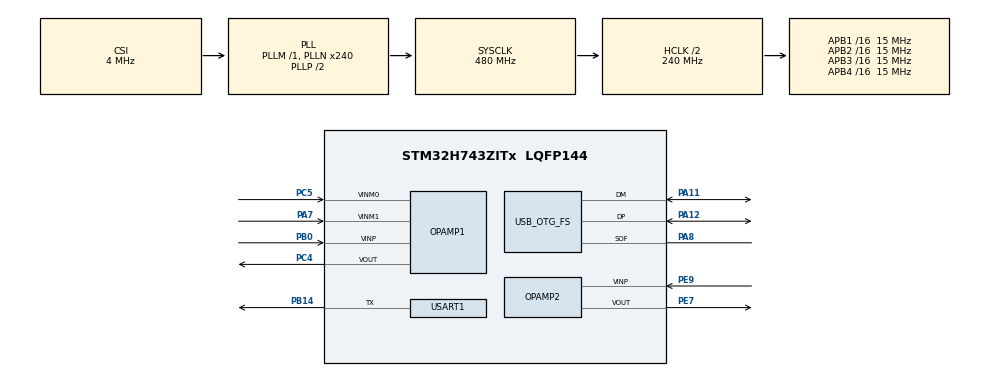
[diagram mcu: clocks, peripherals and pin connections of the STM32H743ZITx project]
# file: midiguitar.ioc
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ADC1.Channel-0\#ChannelRegularConversion=ADC_CHANNEL_4
ADC1.ContinuousConvMode=ENABLE
ADC1.ConversionDataManagement=ADC_CONVERSIONDATA_DMA_CIRCULAR
ADC1.LeftBitShift=ADC_LEFTBITSHIFT_NONE
ADC1.NbrOfConversionFlag=1
ADC1.OffsetNumber-0\#ChannelRegularConversion=ADC_OFFSET_NONE
ADC1.OffsetSignedSaturation-0\#ChannelRegularConversion=DISABLE
ADC1.OversamplingMode=ENABLE
ADC1.Rank-0\#ChannelRegularConversion=1
ADC1.Ratio=ADC3_OVERSAMPLING_RATIO_32
ADC1.RightBitShift=ADC_RIGHTBITSHIFT_5
ADC1.SamplingTime-0\#ChannelRegularConversion=ADC_SAMPLETIME_2CYCLES_5
ADC1.master=1
CORTEX_M7.default_mode_Activation=1
Dma.ADC1.0.Direction=DMA_PERIPH_TO_MEMORY
Dma.ADC1.0.EventEnable=DISABLE
Dma.ADC1.0.FIFOMode=DMA_FIFOMODE_DISABLE
Dma.ADC1.0.Instance=DMA1_Stream0
Dma.ADC1.0.MemDataAlignment=DMA_MDATAALIGN_HALFWORD
Dma.ADC1.0.MemInc=DMA_MINC_ENABLE
Dma.ADC1.0.Mode=DMA_CIRCULAR
Dma.ADC1.0.PeriphDataAlignment=DMA_PDATAALIGN_HALFWORD
Dma.ADC1.0.PeriphInc=DMA_PINC_DISABLE
Dma.ADC1.0.Polarity=HAL_DMAMUX_REQ_GEN_RISING
Dma.ADC1.0.Priority=DMA_PRIORITY_LOW
Dma.ADC1.0.RequestNumber=1
Dma.ADC1.0.SignalID=NONE
Dma.ADC1.0.SyncEnable=DISABLE
Dma.ADC1.0.SyncPolarity=HAL_DMAMUX_SYNC_NO_EVENT
Dma.ADC1.0.SyncRequestNumber=1
Dma.ADC1.0.SyncSignalID=NONE
Dma.Request0=ADC1
Dma.Request1=USART1_TX
Dma.USART1_TX.1.Direction=DMA_MEMORY_TO_PERIPH
Dma.USART1_TX.1.EventEnable=DISABLE
Dma.USART1_TX.1.FIFOMode=DMA_FIFOMODE_DISABLE
Dma.USART1_TX.1.Instance=DMA1_Stream1
Dma.USART1_TX.1.MemDataAlignment=DMA_MDATAALIGN_BYTE
Dma.USART1_TX.1.MemInc=DMA_MINC_ENABLE
Dma.USART1_TX.1.Mode=DMA_NORMAL
Dma.USART1_TX.1.PeriphDataAlignment=DMA_PDATAALIGN_BYTE
Dma.USART1_TX.1.PeriphInc=DMA_PINC_DISABLE
Dma.USART1_TX.1.Polarity=HAL_DMAMUX_REQ_GEN_RISING
Dma.USART1_TX.1.Priority=DMA_PRIORITY_LOW
Dma.USART1_TX.1.RequestNumber=1
Dma.USART1_TX.1.SignalID=NONE
Dma.USART1_TX.1.SyncEnable=DISABLE
Dma.USART1_TX.1.SyncPolarity=HAL_DMAMUX_SYNC_NO_EVENT
Dma.USART1_TX.1.SyncRequestNumber=1
Dma.USART1_TX.1.SyncSignalID=NONE
Mcu.Family=STM32H7
Mcu.Name=STM32H743ZITx
Mcu.Package=LQFP144
NVIC.DMA1_Stream0_IRQn=true\:0\:0\:false\:false\:true\:false\:true\:true
NVIC.DMA1_Stream1_IRQn=true\:0\:0\:false\:false\:true\:false\:true\:true
NVIC.OTG_FS_IRQn=true\:0\:0\:false\:false\:true\:true\:true\:true
NVIC.PriorityGroup=NVIC_PRIORITYGROUP_4
NVIC.USART1_IRQn=true\:0\:0\:false\:false\:true\:false\:true\:true
OPAMP1.PgaGain=OPAMP_PGA_GAIN_16_OR_MINUS_15
OPAMP1.SelfCalibration=Enable
OPAMP1.UserTrimming=OPAMP_TRIMMING_USER
OPAMP2.SelfCalibration=Enable
OPAMP2.UserTrimming=OPAMP_TRIMMING_USER
PA11.Mode=Device_Only
PA11.Signal=USB_OTG_FS_DM
PA12.Mode=Device_Only
PA12.Signal=USB_OTG_FS_DP
PA7.Mode=PGA Connected-INVERTINGINPUT_IO0_IO1_BIAS
PA7.Signal=OPAMP1_VINM1
PA8.Mode=Activate_SOF_FS
PA8.Signal=USB_OTG_FS_SOF
PB0.Mode=PGA Connected-INVERTINGINPUT_IO0_IO1_BIAS
PB0.Signal=OPAMP1_VINP
PB14.Mode=Half_duplex(single_wire_mode)
PB14.Signal=USART1_TX
PC4.Signal=SharedAnalog_PC4
PC5.Mode=PGA Connected-INVERTINGINPUT_IO0_IO1_BIAS
PC5.Signal=OPAMP1_VINM0
PE7.Mode=Follower
PE7.Signal=OPAMP2_VOUT
PE9.Mode=Follower
PE9.Signal=OPAMP2_VINP
ProjectManager.HeapSize=0x8000
ProjectManager.StackSize=0x8000
ProjectManager.TargetToolchain=CMake
RCC.ADCFreq_Value=23040000
RCC.APB1Freq_Value=15000000
RCC.APB2Freq_Value=15000000
RCC.APB3Freq_Value=15000000
RCC.APB4Freq_Value=15000000
RCC.CKPERSourceSelection=RCC_CLKPSOURCE_CSI
RCC.CortexFreq_Value=480000000
RCC.D1PPRE=RCC_APB3_DIV16
RCC.D2PPRE1=RCC_APB1_DIV16
RCC.D2PPRE2=RCC_APB2_DIV16
RCC.D3PPRE=RCC_APB4_DIV16
RCC.DIVM1=1
RCC.DIVM2=1
RCC.DIVN1=240
RCC.DIVN2=144
RCC.DIVN3=4
RCC.DIVP2=25
RCC.DIVQ1=128
RCC.DIVQ2=128
RCC.DIVQ3=128
RCC.DIVR3=128
RCC.HCLKFreq_Value=240000000
RCC.HPRE=RCC_HCLK_DIV2
RCC.PLLSourceVirtual=RCC_PLLSOURCE_CSI
RCC.SYSCLKFreq_VALUE=480000000
RCC.SYSCLKSource=RCC_SYSCLKSOURCE_PLLCLK
RCC.USART16CLockSelection=RCC_USART16CLKSOURCE_CSI
RCC.USBCLockSelection=RCC_USBCLKSOURCE_HSI48
RCC.USBFreq_Value=48000000
SH.SharedAnalog_PC4.0=ADC1_INP4
SH.SharedAnalog_PC4.1=OPAMP1_VOUT,PGA Connected-INVERTINGINPUT_IO0_IO1_BIAS
USART1.BaudRate=31250
USART1.Mode=MODE_TX
USART1.VirtualMode-Half_duplex(single_wire_mode)=VM_ASYNC
USB_DEVICE.CLASS_NAME_FS=CDC
USB_DEVICE.USBD_LPM_ENABLED-CDC_FS=0
USB_DEVICE.USBD_SELF_POWERED-CDC_FS=0
USB_DEVICE.VirtualMode-CDC_FS=Cdc
USB_DEVICE.VirtualModeFS=Cdc_FS
USB_OTG_FS.VirtualMode=Device_Only
USB_OTG_FS.dma_enable=DISABLE
VP_ADC1_OPAMP1_OUT.Mode=IN4-OPAMP1-Single-Ended
VP_USB_DEVICE_VS_USB_DEVICE_CDC_FS.Mode=CDC_FS
VREF+.Mode=InternalMode
VREF+.Signal=VREFBUF_OUT
VREFBUF.TrimmingMode=__NULL
board=custom

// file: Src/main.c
/* USER CODE BEGIN Header */
/**
  ******************************************************************************
  * @file           : main.c
  * @brief          : Main program body
  ******************************************************************************
  * @attention
  *
  * Copyright (c) 2024 STMicroelectronics.
  * All rights reserved.
  *
  * This software is licensed under terms that can be found in the LICENSE file
  * in the root directory of this software component.
  * If no LICENSE file comes with this software, it is provided AS-IS.
  *
  ******************************************************************************
  */
/* USER CODE END Header */
#include "main.h"
#include "usb_device.h"

/* USER CODE BEGIN Includes */
#include "usbd_cdc_if.h"
#include "midiguitar.h"
/* USER CODE END Includes */

/* USER CODE BEGIN PTD */
enum { ADC3_OVERSAMPLING_RATIO_32 = 0x10 };
/* USER CODE END PTD */

ADC_HandleTypeDef hadc1;
DMA_HandleTypeDef hdma_adc1;

OPAMP_HandleTypeDef hopamp1;
OPAMP_HandleTypeDef hopamp2;

UART_HandleTypeDef huart1;
DMA_HandleTypeDef hdma_usart1_tx;

void SystemClock_Config(void);
static void MPU_Config(void);
static void MX_GPIO_Init(void);
static void MX_DMA_Init(void);
static void MX_ADC1_Init(void);
static void MX_OPAMP1_Init(void);
static void MX_USART1_UART_Init(void);
static void MX_OPAMP2_Init(void);

int main(void)
{

  /* MPU Configuration--------------------------------------------------------*/
  MPU_Config();

  /* MCU Configuration--------------------------------------------------------*/

  /* Reset of all peripherals, Initializes the Flash interface and the Systick. */
  HAL_Init();

  /* Configure the system clock */
  SystemClock_Config();

  /* Initialize all configured peripherals */
  MX_GPIO_Init();
  MX_DMA_Init();
  MX_ADC1_Init();
  MX_OPAMP1_Init();
  MX_USART1_UART_Init();
  MX_USB_DEVICE_Init();
  MX_OPAMP2_Init();
  /* USER CODE BEGIN 2 */
  static volatile uint16_t input[AUDIO_CAP];
  HAL_ADC_Start_DMA(&hadc1, (uint32_t *)input, AUDIO_CAP);
  struct midiguitar mg;
  bzero(&mg, sizeof(mg));
  uint8_t output[MIDI_CAP], output2[MIDI_CAP];
  /* USER CODE END 2 */

  /* Infinite loop */
  /* USER CODE BEGIN WHILE */
  while (1) {
    const uint16_t k = __HAL_DMA_GET_COUNTER(hadc1.DMA_Handle);
    const uint32_t t = HAL_GetTick();
    const int8_t n = midiguitar(&mg, input, k, output);
    const int dt = HAL_GetTick() - t;
    if (n) {
      HAL_UART_Transmit_DMA(&huart1, output, n);
      const int8_t l = sprintf(output2, "%d\n", dt);
      CDC_Transmit_FS(output2, l);
    }
    /* USER CODE END WHILE */

  }
}

void SystemClock_Config(void)
{
  RCC_OscInitTypeDef RCC_OscInitStruct = {0};
  RCC_ClkInitTypeDef RCC_ClkInitStruct = {0};

  /** Supply configuration update enable
  */
  HAL_PWREx_ConfigSupply(PWR_LDO_SUPPLY);

  /** Configure the main internal regulator output voltage
  */
  __HAL_PWR_VOLTAGESCALING_CONFIG(PWR_REGULATOR_VOLTAGE_SCALE1);

  while(!__HAL_PWR_GET_FLAG(PWR_FLAG_VOSRDY)) {}

  __HAL_RCC_SYSCFG_CLK_ENABLE();
  __HAL_PWR_VOLTAGESCALING_CONFIG(PWR_REGULATOR_VOLTAGE_SCALE0);

  while(!__HAL_PWR_GET_FLAG(PWR_FLAG_VOSRDY)) {}

  /** Initializes the RCC Oscillators according to the specified parameters
  * in the RCC_OscInitTypeDef structure.
  */
  RCC_OscInitStruct.OscillatorType = RCC_OSCILLATORTYPE_HSI48|RCC_OSCILLATORTYPE_CSI;
  RCC_OscInitStruct.HSI48State = RCC_HSI48_ON;
  RCC_OscInitStruct.CSIState = RCC_CSI_ON;
  RCC_OscInitStruct.CSICalibrationValue = RCC_CSICALIBRATION_DEFAULT;
  RCC_OscInitStruct.PLL.PLLState = RCC_PLL_ON;
  RCC_OscInitStruct.PLL.PLLSource = RCC_PLLSOURCE_CSI;
  RCC_OscInitStruct.PLL.PLLM = 1;
  RCC_OscInitStruct.PLL.PLLN = 240;
  RCC_OscInitStruct.PLL.PLLP = 2;
  RCC_OscInitStruct.PLL.PLLQ = 128;
  RCC_OscInitStruct.PLL.PLLR = 2;
  RCC_OscInitStruct.PLL.PLLRGE = RCC_PLL1VCIRANGE_2;
  RCC_OscInitStruct.PLL.PLLVCOSEL = RCC_PLL1VCOWIDE;
  RCC_OscInitStruct.PLL.PLLFRACN = 0;
  if (HAL_RCC_OscConfig(&RCC_OscInitStruct) != HAL_OK)
  {
    Error_Handler();
  }

  /** Initializes the CPU, AHB and APB buses clocks
  */
  RCC_ClkInitStruct.ClockType = RCC_CLOCKTYPE_HCLK|RCC_CLOCKTYPE_SYSCLK
                              |RCC_CLOCKTYPE_PCLK1|RCC_CLOCKTYPE_PCLK2
                              |RCC_CLOCKTYPE_D3PCLK1|RCC_CLOCKTYPE_D1PCLK1;
  RCC_ClkInitStruct.SYSCLKSource = RCC_SYSCLKSOURCE_PLLCLK;
  RCC_ClkInitStruct.SYSCLKDivider = RCC_SYSCLK_DIV1;
  RCC_ClkInitStruct.AHBCLKDivider = RCC_HCLK_DIV2;
  RCC_ClkInitStruct.APB3CLKDivider = RCC_APB3_DIV16;
  RCC_ClkInitStruct.APB1CLKDivider = RCC_APB1_DIV16;
  RCC_ClkInitStruct.APB2CLKDivider = RCC_APB2_DIV16;
  RCC_ClkInitStruct.APB4CLKDivider = RCC_APB4_DIV16;

  if (HAL_RCC_ClockConfig(&RCC_ClkInitStruct, FLASH_LATENCY_4) != HAL_OK)
  {
    Error_Handler();
  }
}

static void MX_ADC1_Init(void)
{

  ADC_MultiModeTypeDef multimode = {0};
  ADC_ChannelConfTypeDef sConfig = {0};

  /** Common config
  */
  hadc1.Instance = ADC1;
  hadc1.Init.ClockPrescaler = ADC_CLOCK_ASYNC_DIV1;
  hadc1.Init.Resolution = ADC_RESOLUTION_16B;
  hadc1.Init.ScanConvMode = ADC_SCAN_DISABLE;
  hadc1.Init.EOCSelection = ADC_EOC_SINGLE_CONV;
  hadc1.Init.LowPowerAutoWait = DISABLE;
  hadc1.Init.ContinuousConvMode = ENABLE;
  hadc1.Init.NbrOfConversion = 1;
  hadc1.Init.DiscontinuousConvMode = DISABLE;
  hadc1.Init.ExternalTrigConv = ADC_SOFTWARE_START;
  hadc1.Init.ExternalTrigConvEdge = ADC_EXTERNALTRIGCONVEDGE_NONE;
  hadc1.Init.ConversionDataManagement = ADC_CONVERSIONDATA_DMA_CIRCULAR;
  hadc1.Init.Overrun = ADC_OVR_DATA_PRESERVED;
  hadc1.Init.LeftBitShift = ADC_LEFTBITSHIFT_NONE;
  hadc1.Init.OversamplingMode = ENABLE;
  hadc1.Init.Oversampling.Ratio = ADC3_OVERSAMPLING_RATIO_32;
  hadc1.Init.Oversampling.RightBitShift = ADC_RIGHTBITSHIFT_5;
  hadc1.Init.Oversampling.TriggeredMode = ADC_TRIGGEREDMODE_SINGLE_TRIGGER;
  hadc1.Init.Oversampling.OversamplingStopReset = ADC_REGOVERSAMPLING_CONTINUED_MODE;
  if (HAL_ADC_Init(&hadc1) != HAL_OK)
  {
    Error_Handler();
  }

  /** Configure the ADC multi-mode
  */
  multimode.Mode = ADC_MODE_INDEPENDENT;
  if (HAL_ADCEx_MultiModeConfigChannel(&hadc1, &multimode) != HAL_OK)
  {
    Error_Handler();
  }

  /** Configure Regular Channel
  */
  sConfig.Channel = ADC_CHANNEL_4;
  sConfig.Rank = ADC_REGULAR_RANK_1;
  sConfig.SamplingTime = ADC_SAMPLETIME_2CYCLES_5;
  sConfig.SingleDiff = ADC_SINGLE_ENDED;
  sConfig.OffsetNumber = ADC_OFFSET_NONE;
  sConfig.Offset = 0;
  sConfig.OffsetSignedSaturation = DISABLE;
  if (HAL_ADC_ConfigChannel(&hadc1, &sConfig) != HAL_OK)
  {
    Error_Handler();
  }

}

static void MX_OPAMP1_Init(void)
{

  hopamp1.Instance = OPAMP1;
  hopamp1.Init.Mode = OPAMP_PGA_MODE;
  hopamp1.Init.NonInvertingInput = OPAMP_NONINVERTINGINPUT_IO0;
  hopamp1.Init.PowerMode = OPAMP_POWERMODE_NORMAL;
  hopamp1.Init.PgaConnect = OPAMP_PGA_CONNECT_INVERTINGINPUT_IO0_IO1_BIAS;
  hopamp1.Init.PgaGain = OPAMP_PGA_GAIN_16_OR_MINUS_15;
  hopamp1.Init.UserTrimming = OPAMP_TRIMMING_USER;
  if (HAL_OPAMP_Init(&hopamp1) != HAL_OK)
  {
    Error_Handler();
  }
  if (HAL_OPAMP_SelfCalibrate(&hopamp1) != HAL_OK)
  {
    Error_Handler();
  }

}

static void MX_OPAMP2_Init(void)
{

  hopamp2.Instance = OPAMP2;
  hopamp2.Init.Mode = OPAMP_FOLLOWER_MODE;
  hopamp2.Init.NonInvertingInput = OPAMP_NONINVERTINGINPUT_IO0;
  hopamp2.Init.PowerMode = OPAMP_POWERMODE_NORMAL;
  hopamp2.Init.UserTrimming = OPAMP_TRIMMING_USER;
  if (HAL_OPAMP_Init(&hopamp2) != HAL_OK)
  {
    Error_Handler();
  }
  if (HAL_OPAMP_SelfCalibrate(&hopamp2) != HAL_OK)
  {
    Error_Handler();
  }

}

static void MX_USART1_UART_Init(void)
{

  huart1.Instance = USART1;
  huart1.Init.BaudRate = 31250;
  huart1.Init.WordLength = UART_WORDLENGTH_8B;
  huart1.Init.StopBits = UART_STOPBITS_1;
  huart1.Init.Parity = UART_PARITY_NONE;
  huart1.Init.Mode = UART_MODE_TX;
  huart1.Init.HwFlowCtl = UART_HWCONTROL_NONE;
  huart1.Init.OverSampling = UART_OVERSAMPLING_16;
  huart1.Init.OneBitSampling = UART_ONE_BIT_SAMPLE_DISABLE;
  huart1.Init.ClockPrescaler = UART_PRESCALER_DIV1;
  huart1.AdvancedInit.AdvFeatureInit = UART_ADVFEATURE_NO_INIT;
  if (HAL_HalfDuplex_Init(&huart1) != HAL_OK)
  {
    Error_Handler();
  }
  if (HAL_UARTEx_SetTxFifoThreshold(&huart1, UART_TXFIFO_THRESHOLD_1_8) != HAL_OK)
  {
    Error_Handler();
  }
  if (HAL_UARTEx_SetRxFifoThreshold(&huart1, UART_RXFIFO_THRESHOLD_1_8) != HAL_OK)
  {
    Error_Handler();
  }
  if (HAL_UARTEx_DisableFifoMode(&huart1) != HAL_OK)
  {
    Error_Handler();
  }

}

static void MX_DMA_Init(void)
{

  /* DMA controller clock enable */
  __HAL_RCC_DMA1_CLK_ENABLE();

  /* DMA interrupt init */
  /* DMA1_Stream0_IRQn interrupt configuration */
  HAL_NVIC_SetPriority(DMA1_Stream0_IRQn, 0, 0);
  HAL_NVIC_EnableIRQ(DMA1_Stream0_IRQn);
  /* DMA1_Stream1_IRQn interrupt configuration */
  HAL_NVIC_SetPriority(DMA1_Stream1_IRQn, 0, 0);
  HAL_NVIC_EnableIRQ(DMA1_Stream1_IRQn);

}

static void MX_GPIO_Init(void)
{
  GPIO_InitTypeDef GPIO_InitStruct = {0};

  /* GPIO Ports Clock Enable */
  __HAL_RCC_GPIOE_CLK_ENABLE();
  __HAL_RCC_GPIOC_CLK_ENABLE();
  __HAL_RCC_GPIOF_CLK_ENABLE();
  __HAL_RCC_GPIOH_CLK_ENABLE();
  __HAL_RCC_GPIOA_CLK_ENABLE();
  __HAL_RCC_GPIOB_CLK_ENABLE();
  __HAL_RCC_GPIOG_CLK_ENABLE();
  __HAL_RCC_GPIOD_CLK_ENABLE();

  /*Configure GPIO pins : PE2 PE3 PE4 PE5
                           PE6 PE8 PE10 PE11
                           PE12 PE13 PE14 PE15
                           PE0 PE1 */
  GPIO_InitStruct.Pin = GPIO_PIN_2|GPIO_PIN_3|GPIO_PIN_4|GPIO_PIN_5
                          |GPIO_PIN_6|GPIO_PIN_8|GPIO_PIN_10|GPIO_PIN_11
                          |GPIO_PIN_12|GPIO_PIN_13|GPIO_PIN_14|GPIO_PIN_15
                          |GPIO_PIN_0|GPIO_PIN_1;
  GPIO_InitStruct.Mode = GPIO_MODE_ANALOG;
  GPIO_InitStruct.Pull = GPIO_NOPULL;
  HAL_GPIO_Init(GPIOE, &GPIO_InitStruct);

  /*Configure GPIO pins : PC13 PC14 PC15 PC0
                           PC1 PC2 PC3 PC6
                           PC7 PC8 PC9 PC10
                           PC11 PC12 */
  GPIO_InitStruct.Pin = GPIO_PIN_13|GPIO_PIN_14|GPIO_PIN_15|GPIO_PIN_0
                          |GPIO_PIN_1|GPIO_PIN_2|GPIO_PIN_3|GPIO_PIN_6
                          |GPIO_PIN_7|GPIO_PIN_8|GPIO_PIN_9|GPIO_PIN_10
                          |GPIO_PIN_11|GPIO_PIN_12;
  GPIO_InitStruct.Mode = GPIO_MODE_ANALOG;
  GPIO_InitStruct.Pull = GPIO_NOPULL;
  HAL_GPIO_Init(GPIOC, &GPIO_InitStruct);

  /*Configure GPIO pins : PF0 PF1 PF2 PF3
                           PF4 PF5 PF6 PF7
                           PF8 PF9 PF10 PF11
                           PF12 PF13 PF14 PF15 */
  GPIO_InitStruct.Pin = GPIO_PIN_0|GPIO_PIN_1|GPIO_PIN_2|GPIO_PIN_3
                          |GPIO_PIN_4|GPIO_PIN_5|GPIO_PIN_6|GPIO_PIN_7
                          |GPIO_PIN_8|GPIO_PIN_9|GPIO_PIN_10|GPIO_PIN_11
                          |GPIO_PIN_12|GPIO_PIN_13|GPIO_PIN_14|GPIO_PIN_15;
  GPIO_InitStruct.Mode = GPIO_MODE_ANALOG;
  GPIO_InitStruct.Pull = GPIO_NOPULL;
  HAL_GPIO_Init(GPIOF, &GPIO_InitStruct);

  /*Configure GPIO pins : PH0 PH1 */
  GPIO_InitStruct.Pin = GPIO_PIN_0|GPIO_PIN_1;
  GPIO_InitStruct.Mode = GPIO_MODE_ANALOG;
  GPIO_InitStruct.Pull = GPIO_NOPULL;
  HAL_GPIO_Init(GPIOH, &GPIO_InitStruct);

  /*Configure GPIO pins : PA0 PA1 PA2 PA3
                           PA4 PA5 PA6 PA9
                           PA10 PA13 PA14 PA15 */
  GPIO_InitStruct.Pin = GPIO_PIN_0|GPIO_PIN_1|GPIO_PIN_2|GPIO_PIN_3
                          |GPIO_PIN_4|GPIO_PIN_5|GPIO_PIN_6|GPIO_PIN_9
                          |GPIO_PIN_10|GPIO_PIN_13|GPIO_PIN_14|GPIO_PIN_15;
  GPIO_InitStruct.Mode = GPIO_MODE_ANALOG;
  GPIO_InitStruct.Pull = GPIO_NOPULL;
  HAL_GPIO_Init(GPIOA, &GPIO_InitStruct);

  /*Configure GPIO pins : PB1 PB2 PB10 PB11
                           PB12 PB13 PB15 PB3
                           PB4 PB5 PB6 PB7
                           PB8 PB9 */
  GPIO_InitStruct.Pin = GPIO_PIN_1|GPIO_PIN_2|GPIO_PIN_10|GPIO_PIN_11
                          |GPIO_PIN_12|GPIO_PIN_13|GPIO_PIN_15|GPIO_PIN_3
                          |GPIO_PIN_4|GPIO_PIN_5|GPIO_PIN_6|GPIO_PIN_7
                          |GPIO_PIN_8|GPIO_PIN_9;
  GPIO_InitStruct.Mode = GPIO_MODE_ANALOG;
  GPIO_InitStruct.Pull = GPIO_NOPULL;
  HAL_GPIO_Init(GPIOB, &GPIO_InitStruct);

  /*Configure GPIO pins : PG0 PG1 PG2 PG3
                           PG4 PG5 PG6 PG7
                           PG8 PG9 PG10 PG11
                           PG12 PG13 PG14 PG15 */
  GPIO_InitStruct.Pin = GPIO_PIN_0|GPIO_PIN_1|GPIO_PIN_2|GPIO_PIN_3
                          |GPIO_PIN_4|GPIO_PIN_5|GPIO_PIN_6|GPIO_PIN_7
                          |GPIO_PIN_8|GPIO_PIN_9|GPIO_PIN_10|GPIO_PIN_11
                          |GPIO_PIN_12|GPIO_PIN_13|GPIO_PIN_14|GPIO_PIN_15;
  GPIO_InitStruct.Mode = GPIO_MODE_ANALOG;
  GPIO_InitStruct.Pull = GPIO_NOPULL;
  HAL_GPIO_Init(GPIOG, &GPIO_InitStruct);

  /*Configure GPIO pins : PD8 PD9 PD10 PD11
                           PD12 PD13 PD14 PD15
                           PD0 PD1 PD2 PD3
                           PD4 PD5 PD6 PD7 */
  GPIO_InitStruct.Pin = GPIO_PIN_8|GPIO_PIN_9|GPIO_PIN_10|GPIO_PIN_11
                          |GPIO_PIN_12|GPIO_PIN_13|GPIO_PIN_14|GPIO_PIN_15
                          |GPIO_PIN_0|GPIO_PIN_1|GPIO_PIN_2|GPIO_PIN_3
                          |GPIO_PIN_4|GPIO_PIN_5|GPIO_PIN_6|GPIO_PIN_7;
  GPIO_InitStruct.Mode = GPIO_MODE_ANALOG;
  GPIO_InitStruct.Pull = GPIO_NOPULL;
  HAL_GPIO_Init(GPIOD, &GPIO_InitStruct);

}

 /* MPU Configuration */

void MPU_Config(void)
{
  MPU_Region_InitTypeDef MPU_InitStruct = {0};

  /* Disables the MPU */
  HAL_MPU_Disable();

  /** Initializes and configures the Region and the memory to be protected
  */
  MPU_InitStruct.Enable = MPU_REGION_ENABLE;
  MPU_InitStruct.Number = MPU_REGION_NUMBER0;
  MPU_InitStruct.BaseAddress = 0x0;
  MPU_InitStruct.Size = MPU_REGION_SIZE_4GB;
  MPU_InitStruct.SubRegionDisable = 0x87;
  MPU_InitStruct.TypeExtField = MPU_TEX_LEVEL0;
  MPU_InitStruct.AccessPermission = MPU_REGION_NO_ACCESS;
  MPU_InitStruct.DisableExec = MPU_INSTRUCTION_ACCESS_DISABLE;
  MPU_InitStruct.IsShareable = MPU_ACCESS_SHAREABLE;
  MPU_InitStruct.IsCacheable = MPU_ACCESS_NOT_CACHEABLE;
  MPU_InitStruct.IsBufferable = MPU_ACCESS_NOT_BUFFERABLE;

  HAL_MPU_ConfigRegion(&MPU_InitStruct);
  /* Enables the MPU */
  HAL_MPU_Enable(MPU_PRIVILEGED_DEFAULT);

}

void Error_Handler(void)
{
  __disable_irq();
  while (1)
  {
  }
}
